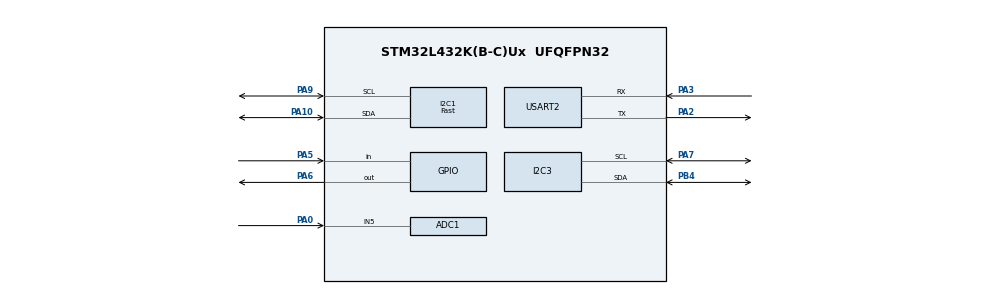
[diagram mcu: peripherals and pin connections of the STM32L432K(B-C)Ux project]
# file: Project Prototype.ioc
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ADC1.Channel-0\#ChannelRegularConversion=ADC_CHANNEL_5
ADC1.NbrOfConversionFlag=1
ADC1.OffsetNumber-0\#ChannelRegularConversion=ADC_OFFSET_NONE
ADC1.Rank-0\#ChannelRegularConversion=1
ADC1.SamplingTime-0\#ChannelRegularConversion=ADC_SAMPLETIME_2CYCLES_5
ADC1.master=1
I2C1.I2C_Speed_Mode=I2C_Fast
I2C1.Timing=0x00000004
Mcu.Family=STM32L4
Mcu.Name=STM32L432K(B-C)Ux
Mcu.Package=UFQFPN32
NVIC.PriorityGroup=NVIC_PRIORITYGROUP_4
NVIC.USART2_IRQn=true\:0\:0\:false\:false\:true\:true\:true
PA0.Signal=ADCx_IN5
PA10.Mode=I2C
PA10.Signal=I2C1_SDA
PA13\ (JTMS-SWDIO).Mode=Serial_Wire
PA13\ (JTMS-SWDIO).Signal=SYS_JTMS-SWDIO
PA14\ (JTCK-SWCLK).Mode=Serial_Wire
PA14\ (JTCK-SWCLK).Signal=SYS_JTCK-SWCLK
PA2.Mode=Asynchronous
PA2.Signal=USART2_TX
PA3.Mode=Asynchronous
PA3.Signal=USART2_RX
PA5.Signal=GPIO_Input
PA6.Signal=GPIO_Output
PA7.Mode=I2C
PA7.Signal=I2C3_SCL
PA9.Mode=I2C
PA9.Signal=I2C1_SCL
PB4\ (NJTRST).Mode=I2C
PB4\ (NJTRST).Signal=I2C3_SDA
PC14-OSC32_IN\ (PC14).Mode=LSE-External-Oscillator
PC14-OSC32_IN\ (PC14).Signal=RCC_OSC32_IN
PC15-OSC32_OUT\ (PC15).Mode=LSE-External-Oscillator
PC15-OSC32_OUT\ (PC15).Signal=RCC_OSC32_OUT
ProjectManager.HeapSize=0x200
ProjectManager.StackSize=0x400
ProjectManager.TargetToolchain=MDK-ARM V5
RCC.ADCFreq_Value=32000000
RCC.HSE_VALUE=8000000
RCC.HSI48_VALUE=48000000
RCC.HSI_VALUE=16000000
RCC.MSI_VALUE=4000000
RCC.PLLSAI1N=16
RCC.USBFreq_Value=32000000
RCC.VCOOutputFreq_Value=32000000
SH.ADCx_IN5.0=ADC1_IN5,IN5-Single-Ended
USART2.VirtualMode-Asynchronous=VM_ASYNC
board=custom

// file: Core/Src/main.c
/* USER CODE BEGIN Header */
/**
  ******************************************************************************
  * @file           : main.c
  * @brief          : Main program body
  ******************************************************************************
  * @attention
  *
  * <h2><center>&copy; Copyright (c) 2021 STMicroelectronics.
  * All rights reserved.</center></h2>
  *
  * This software component is licensed by ST under BSD 3-Clause license,
  * the "License"; You may not use this file except in compliance with the
  * License. You may obtain a copy of the License at:
  *                        opensource.org/licenses/BSD-3-Clause
  *
  ******************************************************************************
  */
/* USER CODE END Header */
#include "main.h"
#include "ssd1306.h"
#include "fonts.h"
#include "max30102.h"
#include "stdio.h"
#include "math.h"
#define adxl_address 0x53<<1

ADC_HandleTypeDef hadc1;

I2C_HandleTypeDef hi2c1;
I2C_HandleTypeDef hi2c3;

UART_HandleTypeDef huart2;
uint8_t data_rec[6];
uint8_t chipid=0;
int16_t x,y,z;
float xg, yg, zg;
char x_char[3], y_char[3], z_char[3];
int xavg, yavg,zavg, steps=0, flag=0;
int xval[15]={0}, yval[15]={0}, zval[15]={0};
int threshhold = 20;

void SystemClock_Config(void);
static void MX_GPIO_Init(void);
static void MX_I2C1_Init(void);
static void MX_USART2_UART_Init(void);
static void MX_I2C3_Init(void);
static void MX_ADC1_Init(void);

/* USER CODE BEGIN 0 */
void adxl_write (uint8_t reg, uint8_t value)
{
	uint8_t data[2];
	data[0] = reg;
	data[1] = value;
	HAL_I2C_Master_Transmit (&hi2c1, adxl_address, data, 2, 100);
}

void adxl_read_values (uint8_t reg)
{
	HAL_I2C_Mem_Read (&hi2c1, adxl_address, reg, 1, (uint8_t *)data_rec, 6, 100);
}

void adxl_read_address (uint8_t reg)
{
	HAL_I2C_Mem_Read (&hi2c1, adxl_address, reg, 1, &chipid, 1, 100);
}

void adxl_init (void)
{
	adxl_read_address (0x00); // read the DEVID

	adxl_write (0x31, 0x01);  // data_format range= +- 4g
	adxl_write (0x2d, 0x00);  // reset all bits
	adxl_write (0x2d, 0x08);  // power_cntl measure and wake up 8hz

}

void display_data (float data)
{
	sprintf (x_char, "% 4f", data);
  SSD1306_Puts (x_char, &Font_11x18, 1);
	SSD1306_UpdateScreen ();  // update display
}
uint8_t hexToAscii(uint8_t n)//4-bit hex value converted to an ascii character
{
 if (n>=0 && n<=9) n = n + '0';
 else n = n - 10 + 'A';
 return n;
}
float hextoint(uint8_t* in)
{
	float out = 0.0;
	if(in[0]>=48 && in[0]<=57)
		out+=((in[0]-'0')*16);
	else out+=((in[0]-'A'+10)*16);
	if(in[1]>=48 && in[1]<=57)
		out+=(in[1]-'0');
	else out+=(in[1]-'A'+10);
	if(in[3]>=48 && in[3]<=57)
		out+=((in[3]-'0')/16.0);
	else out+=((in[3]-'A'+10)/16.0);
	return out;

}
int Pedometer(){
    int acc=0;
    int totvect[15]={0};
    int totave[15]={0};
    int xaccl[15]={0};
    int yaccl[15]={0};
    int zaccl[15]={0};
    for (int i=0;i<15;i++)
    {
      xaccl[i]= x;
      HAL_Delay(1);
      yaccl[i]= y;
      HAL_Delay(1);
      zaccl[i]= z;
      HAL_Delay(1);
      totvect[i] = sqrt(((xaccl[i]-xavg)* (xaccl[i]-xavg))+ ((yaccl[i] - yavg)*(yaccl[i] - yavg)) + ((zval[i] - zavg)*(zval[i] - zavg)));
      totave[i] = (totvect[i] + totvect[i-1]) / 2 ;
      HAL_Delay(150);

      //cal steps
      if (totave[i]>threshhold && flag==0)
      {
         steps=steps+1;
         flag=1;
      }
      else if (totave[i] > threshhold && flag==1)
      {
          //do nothing
      }
      if (totave[i] <threshhold  && flag==1)
      {
        flag=0;
      }
     // Serial.print("steps=");
     // Serial.println(steps);
     return(steps);
    }
  HAL_Delay(100);
 }
/* USER CODE END 0 */

int main(void)
{

  /* MCU Configuration--------------------------------------------------------*/

  /* Reset of all peripherals, Initializes the Flash interface and the Systick. */
  HAL_Init();

  /* Configure the system clock */
  SystemClock_Config();

  /* Initialize all configured peripherals */
  MX_GPIO_Init();
  MX_I2C1_Init();
  MX_USART2_UART_Init();
  MX_I2C3_Init();
  MX_ADC1_Init();
  /* USER CODE BEGIN 2 */
  //Transmit via I2C to set clock
  uint8_t secbuffer [2], minbuffer [2], hourbuffer [2];
  // seconds
  secbuffer[0] = 0x00; //register address
  secbuffer[1] = 0x00; //data to put in register --> 0 sec
  HAL_I2C_Master_Transmit(&hi2c1, 0xD0, secbuffer, 2, 10);
  // minutes
  minbuffer[0] = 0x01; //register address
  minbuffer[1] = 0x15; //data to put in register --> 15 min
  HAL_I2C_Master_Transmit(&hi2c1, 0xD0, minbuffer, 2, 10);
  // hours
  hourbuffer[0] = 0x02; //register address
  hourbuffer[1] = 0x47; //data to put in register 01001001 --> 7 am
  HAL_I2C_Master_Transmit(&hi2c1, 0xD0, hourbuffer, 2, 10);
  //Receive via I2C and forward to UART
  char out[] = {0,0,':',0,0,':',0,0, '\0'};
  float temp;
  uint8_t tempLSB[2], tempMSB[2];
  uint8_t eosc[2];
  uint8_t osf[2];
  char out_temp[50];
  float current;
  int steps_displayed;
  char steps_string[50];
  char heart_rate[50];
  uint8_t spo2;
  uint8_t heartReat;
  int16_t diff;
	uint16_t ADC=0;
  uint8_t tempbuffer1[2],tempbuffer2[2];
  tempbuffer1[0]=0x11;
  tempbuffer2[0]=0x12;
  HAL_I2C_Master_Transmit(&hi2c1, 0xD0, tempbuffer1, 2, 10);
  HAL_I2C_Master_Transmit(&hi2c1, 0xD0, tempbuffer2, 2, 10);
  /* USER CODE END 2 */

  /* Infinite loop */
  while (1)
  {
		//send seconds register address 00h to read from
			HAL_I2C_Master_Transmit(&hi2c1, 0xD0, secbuffer, 1, 10);
			//read data of register 00h to secbuffer[1]
			HAL_I2C_Master_Receive(&hi2c1, 0xD1, secbuffer+1, 1, 10);
			//prepare UART output
			out[6] = hexToAscii(secbuffer[1] >> 4 );
			out[7] = hexToAscii(secbuffer[1] & 0x0F );
			HAL_I2C_Master_Transmit(&hi2c1, 0xD0, minbuffer, 1, 10);
			HAL_I2C_Master_Receive(&hi2c1, 0xD1, minbuffer+1, 1, 10);
			out[3] = hexToAscii(minbuffer[1] >> 4 );
			out[4] = hexToAscii(minbuffer[1] & 0x0F );
			HAL_I2C_Master_Transmit(&hi2c1, 0xD0, hourbuffer, 1, 10);
			HAL_I2C_Master_Receive(&hi2c1, 0xD1, hourbuffer+1, 1, 10);
			out[0] = hexToAscii((hourbuffer[1] >> 4) & 1);
			out[1] = hexToAscii(hourbuffer[1] & 0x0F);
			// transmit time to UART

			tempMSB[0] = 0x11;
			tempLSB[0] = 0x12;

			eosc[0] = 0x0E;
			eosc[1] = 0x3C;
			HAL_I2C_Master_Transmit(&hi2c1, 0xD0, eosc, 2, 10);

			osf[0] = 0x0E;
			osf[1] = 0x3C;
			HAL_I2C_Master_Transmit(&hi2c1, 0xD0, osf, 2, 10);

			//send to register address 11h
			HAL_I2C_Master_Transmit(&hi2c1, 0xD0, tempMSB, 1, 10);
			//read data of register 11h to tempMSP[1]
			HAL_I2C_Master_Receive(&hi2c1, 0xD1, tempMSB+1, 1, 10);
			temp=tempMSB[1];

			//send to register address 11h
			HAL_I2C_Master_Transmit(&hi2c1, 0xD0, tempLSB, 1, 10);
			//read data of register 11h to tempMSP[1]
			HAL_I2C_Master_Receive(&hi2c1, 0xD1, tempLSB+1, 1, 10);
			//actual_temp_decimal=tempLSB[1];
			tempLSB[1] = tempLSB[1] >> 6;
			temp = temp + tempLSB[1] *0.25;

			sprintf(out_temp, "%.2f deg.C", temp);

			adxl_read_values (0x32);
			x = ((data_rec[1]<<8)|data_rec[0]);
			y = ((data_rec[3]<<8)|data_rec[2]);
			z = ((data_rec[5]<<8)|data_rec[4]);
			xg = x * .0078;
			yg = y * .0078;
			zg = z * .0078;
			steps_displayed = Pedometer();
			sprintf(steps_string, "x:%.2f,y:%.2f", xg,yg);
//			if (HAL_GPIO_ReadPin(GPIOA, GPIO_PIN_5) == GPIO_PIN_RESET)
//        {
//            HAL_GPIO_TogglePin(GPIOA, GPIO_PIN_6);
//            max30102_cal();

//            spo2 = max30102_getSpO2();
//            heartReat = max30102_getHeartRate();
//				}

			HAL_ADC_Start(&hadc1);
			if (HAL_ADC_PollForConversion(&hadc1, HAL_MAX_DELAY) == HAL_OK) ADC = HAL_ADC_GetValue(&hadc1);

			SSD1306_GotoXY (10,0); // goto 10, 10
			SSD1306_Puts (out, &Font_7x10, 1); // print Hello
			SSD1306_GotoXY (10,15); // goto 10, 10
			SSD1306_Puts (out_temp, &Font_7x10, 1); // print Hello
			//	SSD1306_GotoXY (10,30); // goto 10, 10
			//	SSD1306_Puts (steps_string, &Font_7x10, 1); // print Hello
			sprintf(steps_string, "steps:%d", steps_displayed);
			SSD1306_GotoXY (10,30); // goto 10, 10
			SSD1306_Puts (steps_string, &Font_7x10, 1); // print Hello

			sprintf(heart_rate, "Heart Rate:%d", ADC);
			SSD1306_GotoXY (10,45); // goto 10, 10
			SSD1306_Puts (heart_rate, &Font_7x10, 1); // print Hello
			SSD1306_UpdateScreen(); // update screen
			HAL_Delay(100);
  }
}

void SystemClock_Config(void)
{
  RCC_OscInitTypeDef RCC_OscInitStruct = {0};
  RCC_ClkInitTypeDef RCC_ClkInitStruct = {0};
  RCC_PeriphCLKInitTypeDef PeriphClkInit = {0};

  /** Configure LSE Drive Capability
  */
  HAL_PWR_EnableBkUpAccess();
  __HAL_RCC_LSEDRIVE_CONFIG(RCC_LSEDRIVE_LOW);
  /** Initializes the RCC Oscillators according to the specified parameters
  * in the RCC_OscInitTypeDef structure.
  */
  RCC_OscInitStruct.OscillatorType = RCC_OSCILLATORTYPE_LSE|RCC_OSCILLATORTYPE_MSI;
  RCC_OscInitStruct.LSEState = RCC_LSE_ON;
  RCC_OscInitStruct.MSIState = RCC_MSI_ON;
  RCC_OscInitStruct.MSICalibrationValue = 0;
  RCC_OscInitStruct.MSIClockRange = RCC_MSIRANGE_6;
  RCC_OscInitStruct.PLL.PLLState = RCC_PLL_NONE;
  if (HAL_RCC_OscConfig(&RCC_OscInitStruct) != HAL_OK)
  {
    Error_Handler();
  }
  /** Initializes the CPU, AHB and APB buses clocks
  */
  RCC_ClkInitStruct.ClockType = RCC_CLOCKTYPE_HCLK|RCC_CLOCKTYPE_SYSCLK
                              |RCC_CLOCKTYPE_PCLK1|RCC_CLOCKTYPE_PCLK2;
  RCC_ClkInitStruct.SYSCLKSource = RCC_SYSCLKSOURCE_MSI;
  RCC_ClkInitStruct.AHBCLKDivider = RCC_SYSCLK_DIV1;
  RCC_ClkInitStruct.APB1CLKDivider = RCC_HCLK_DIV1;
  RCC_ClkInitStruct.APB2CLKDivider = RCC_HCLK_DIV1;

  if (HAL_RCC_ClockConfig(&RCC_ClkInitStruct, FLASH_LATENCY_0) != HAL_OK)
  {
    Error_Handler();
  }
  PeriphClkInit.PeriphClockSelection = RCC_PERIPHCLK_USART2|RCC_PERIPHCLK_I2C1
                              |RCC_PERIPHCLK_I2C3|RCC_PERIPHCLK_ADC;
  PeriphClkInit.Usart2ClockSelection = RCC_USART2CLKSOURCE_PCLK1;
  PeriphClkInit.I2c1ClockSelection = RCC_I2C1CLKSOURCE_PCLK1;
  PeriphClkInit.I2c3ClockSelection = RCC_I2C3CLKSOURCE_PCLK1;
  PeriphClkInit.AdcClockSelection = RCC_ADCCLKSOURCE_PLLSAI1;
  PeriphClkInit.PLLSAI1.PLLSAI1Source = RCC_PLLSOURCE_MSI;
  PeriphClkInit.PLLSAI1.PLLSAI1M = 1;
  PeriphClkInit.PLLSAI1.PLLSAI1N = 16;
  PeriphClkInit.PLLSAI1.PLLSAI1P = RCC_PLLP_DIV7;
  PeriphClkInit.PLLSAI1.PLLSAI1Q = RCC_PLLQ_DIV2;
  PeriphClkInit.PLLSAI1.PLLSAI1R = RCC_PLLR_DIV2;
  PeriphClkInit.PLLSAI1.PLLSAI1ClockOut = RCC_PLLSAI1_ADC1CLK;
  if (HAL_RCCEx_PeriphCLKConfig(&PeriphClkInit) != HAL_OK)
  {
    Error_Handler();
  }
  /** Configure the main internal regulator output voltage
  */
  if (HAL_PWREx_ControlVoltageScaling(PWR_REGULATOR_VOLTAGE_SCALE1) != HAL_OK)
  {
    Error_Handler();
  }
  /** Enable MSI Auto calibration
  */
  HAL_RCCEx_EnableMSIPLLMode();
}

static void MX_ADC1_Init(void)
{

  ADC_ChannelConfTypeDef sConfig = {0};

  /** Common config
  */
  hadc1.Instance = ADC1;
  hadc1.Init.ClockPrescaler = ADC_CLOCK_ASYNC_DIV1;
  hadc1.Init.Resolution = ADC_RESOLUTION_12B;
  hadc1.Init.DataAlign = ADC_DATAALIGN_RIGHT;
  hadc1.Init.ScanConvMode = ADC_SCAN_DISABLE;
  hadc1.Init.EOCSelection = ADC_EOC_SINGLE_CONV;
  hadc1.Init.LowPowerAutoWait = DISABLE;
  hadc1.Init.ContinuousConvMode = DISABLE;
  hadc1.Init.NbrOfConversion = 1;
  hadc1.Init.DiscontinuousConvMode = DISABLE;
  hadc1.Init.ExternalTrigConv = ADC_SOFTWARE_START;
  hadc1.Init.ExternalTrigConvEdge = ADC_EXTERNALTRIGCONVEDGE_NONE;
  hadc1.Init.DMAContinuousRequests = DISABLE;
  hadc1.Init.Overrun = ADC_OVR_DATA_PRESERVED;
  hadc1.Init.OversamplingMode = DISABLE;
  if (HAL_ADC_Init(&hadc1) != HAL_OK)
  {
    Error_Handler();
  }
  /** Configure Regular Channel
  */
  sConfig.Channel = ADC_CHANNEL_5;
  sConfig.Rank = ADC_REGULAR_RANK_1;
  sConfig.SamplingTime = ADC_SAMPLETIME_2CYCLES_5;
  sConfig.SingleDiff = ADC_SINGLE_ENDED;
  sConfig.OffsetNumber = ADC_OFFSET_NONE;
  sConfig.Offset = 0;
  if (HAL_ADC_ConfigChannel(&hadc1, &sConfig) != HAL_OK)
  {
    Error_Handler();
  }

}

static void MX_I2C1_Init(void)
{

  hi2c1.Instance = I2C1;
  hi2c1.Init.Timing = 0x00000004;
  hi2c1.Init.OwnAddress1 = 0;
  hi2c1.Init.AddressingMode = I2C_ADDRESSINGMODE_7BIT;
  hi2c1.Init.DualAddressMode = I2C_DUALADDRESS_DISABLE;
  hi2c1.Init.OwnAddress2 = 0;
  hi2c1.Init.OwnAddress2Masks = I2C_OA2_NOMASK;
  hi2c1.Init.GeneralCallMode = I2C_GENERALCALL_DISABLE;
  hi2c1.Init.NoStretchMode = I2C_NOSTRETCH_DISABLE;
  if (HAL_I2C_Init(&hi2c1) != HAL_OK)
  {
    Error_Handler();
  }
  /** Configure Analogue filter
  */
  if (HAL_I2CEx_ConfigAnalogFilter(&hi2c1, I2C_ANALOGFILTER_ENABLE) != HAL_OK)
  {
    Error_Handler();
  }
  /** Configure Digital filter
  */
  if (HAL_I2CEx_ConfigDigitalFilter(&hi2c1, 0) != HAL_OK)
  {
    Error_Handler();
  }

}

static void MX_I2C3_Init(void)
{

  hi2c3.Instance = I2C3;
  hi2c3.Init.Timing = 0x00000E14;
  hi2c3.Init.OwnAddress1 = 0;
  hi2c3.Init.AddressingMode = I2C_ADDRESSINGMODE_7BIT;
  hi2c3.Init.DualAddressMode = I2C_DUALADDRESS_DISABLE;
  hi2c3.Init.OwnAddress2 = 0;
  hi2c3.Init.OwnAddress2Masks = I2C_OA2_NOMASK;
  hi2c3.Init.GeneralCallMode = I2C_GENERALCALL_DISABLE;
  hi2c3.Init.NoStretchMode = I2C_NOSTRETCH_DISABLE;
  if (HAL_I2C_Init(&hi2c3) != HAL_OK)
  {
    Error_Handler();
  }
  /** Configure Analogue filter
  */
  if (HAL_I2CEx_ConfigAnalogFilter(&hi2c3, I2C_ANALOGFILTER_ENABLE) != HAL_OK)
  {
    Error_Handler();
  }
  /** Configure Digital filter
  */
  if (HAL_I2CEx_ConfigDigitalFilter(&hi2c3, 0) != HAL_OK)
  {
    Error_Handler();
  }

}

static void MX_USART2_UART_Init(void)
{

  huart2.Instance = USART2;
  huart2.Init.BaudRate = 115200;
  huart2.Init.WordLength = UART_WORDLENGTH_8B;
  huart2.Init.StopBits = UART_STOPBITS_1;
  huart2.Init.Parity = UART_PARITY_NONE;
  huart2.Init.Mode = UART_MODE_TX_RX;
  huart2.Init.HwFlowCtl = UART_HWCONTROL_NONE;
  huart2.Init.OverSampling = UART_OVERSAMPLING_16;
  huart2.Init.OneBitSampling = UART_ONE_BIT_SAMPLE_DISABLE;
  huart2.AdvancedInit.AdvFeatureInit = UART_ADVFEATURE_NO_INIT;
  if (HAL_UART_Init(&huart2) != HAL_OK)
  {
    Error_Handler();
  }

}

static void MX_GPIO_Init(void)
{
  GPIO_InitTypeDef GPIO_InitStruct = {0};

  /* GPIO Ports Clock Enable */
  __HAL_RCC_GPIOC_CLK_ENABLE();
  __HAL_RCC_GPIOA_CLK_ENABLE();
  __HAL_RCC_GPIOB_CLK_ENABLE();

  /*Configure GPIO pin Output Level */
  HAL_GPIO_WritePin(GPIOA, GPIO_PIN_6, GPIO_PIN_RESET);

  /*Configure GPIO pin : PA5 */
  GPIO_InitStruct.Pin = GPIO_PIN_5;
  GPIO_InitStruct.Mode = GPIO_MODE_INPUT;
  GPIO_InitStruct.Pull = GPIO_NOPULL;
  HAL_GPIO_Init(GPIOA, &GPIO_InitStruct);

  /*Configure GPIO pin : PA6 */
  GPIO_InitStruct.Pin = GPIO_PIN_6;
  GPIO_InitStruct.Mode = GPIO_MODE_OUTPUT_PP;
  GPIO_InitStruct.Pull = GPIO_NOPULL;
  GPIO_InitStruct.Speed = GPIO_SPEED_FREQ_LOW;
  HAL_GPIO_Init(GPIOA, &GPIO_InitStruct);

}

void Error_Handler(void)
{
  __disable_irq();
  while (1)
  {
  }
}

/************************ (C) COPYRIGHT STMicroelectronics *****END OF FILE****/
